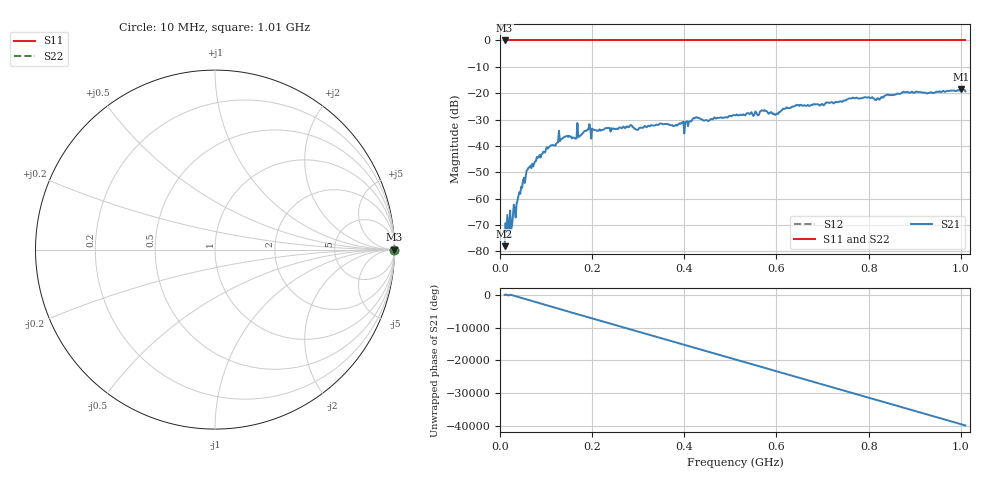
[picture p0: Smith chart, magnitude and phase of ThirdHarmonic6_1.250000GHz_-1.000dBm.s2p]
! 8/16/2025 1:21:36 PM
! C:\ANRITSUVNA\TEMP\TEMP.S2P
! CHANNEL.1
! TR.MEASUREMENT
! RAW.DATA
! RF.CORRECTION.OFF
! AVERAGING.OFF
! IF.BANDWIDTH: 5KHZ
! SWEEPTYPE:  FREQ.SWEEP(Linear)
! Reference Plane Port Info
! PORT:  PORT1  PORT2
! DISTANCE:  0  m  0  m
! TIME:  0  s  0  s
! PHASE.OFFSET:  0  deg.  0  deg.
! LOSS:  0  dB  0  dB
! REF.LOSS:  0  dB  0  dB
! REF.FREQ:  0  Hz  0  Hz
! Power Info
! POWER:  -20  dBm  -20  dBm
! EFF.POWER:  -20  dBm  -20  dBm
! SOURCE.ATTEN:  0  dB  0  dB
! TEST.ATTEN:  0  dB  0  dB
# GHZ S RI R 50.0
! FREQ.GHZ  S11RE  S11IM  S21RE  S21IM  S12RE  S12IM  S22RE  S22IM
!; PortSelection: Port_12
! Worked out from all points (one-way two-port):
!   501 points, 10 MHz to 1.01 GHz, reference 50 ohm
!   highest |S21| = -18.41 dB at 1 GHz (marker M1); lowest = -78.1 dB at 10 MHz (marker M2)
!   lowest |S11| = 0.0 dB at 10 MHz (marker M3)
!   |S11| at or under -10 dB: nowhere
!   |S22| runs from 0.0 to 0.0 dB; largest |S21 - S12| = 1.1
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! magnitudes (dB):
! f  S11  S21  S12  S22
! 10 MHz  0.0  -78.1  0.0  0.0
! 14 MHz  0.0  -72.7  0.0  0.0
! 24 MHz  0.0  -71.9  0.0  0.0
! 42 MHz  0.0  -57.6  0.0  0.0
! 62 MHz  0.0  -48.2  0.0  0.0
! 132 MHz  0.0  -37.7  0.0  0.0
! 178 MHz  0.0  -35.5  0.0  0.0
! 192 MHz  0.0  -33.7  0.0  0.0
! 284 MHz  0.0  -32.1  0.0  0.0
! 296 MHz  0.0  -33.8  0.0  0.0
! 344 MHz  0.0  -32.1  0.0  0.0
! 404 MHz  0.0  -30.9  0.0  0.0
! 424 MHz  0.0  -29.3  0.0  0.0
! 450 MHz  0.0  -30.4  0.0  0.0
! 510 MHz  0.0  -28.4  0.0  0.0
! 572 MHz  0.0  -26.7  0.0  0.0
! 600 MHz  0.0  -27.8  0.0  0.0
! 644 MHz  0.0  -24.4  0.0  0.0
! 678 MHz  0.0  -24.5  0.0  0.0
! 844 MHz  0.0  -20.6  0.0  0.0
! 1 GHz  0.0  -18.4  0.0  0.0
! 1.01 GHz  0.0  -19.3  0.0  0.0
